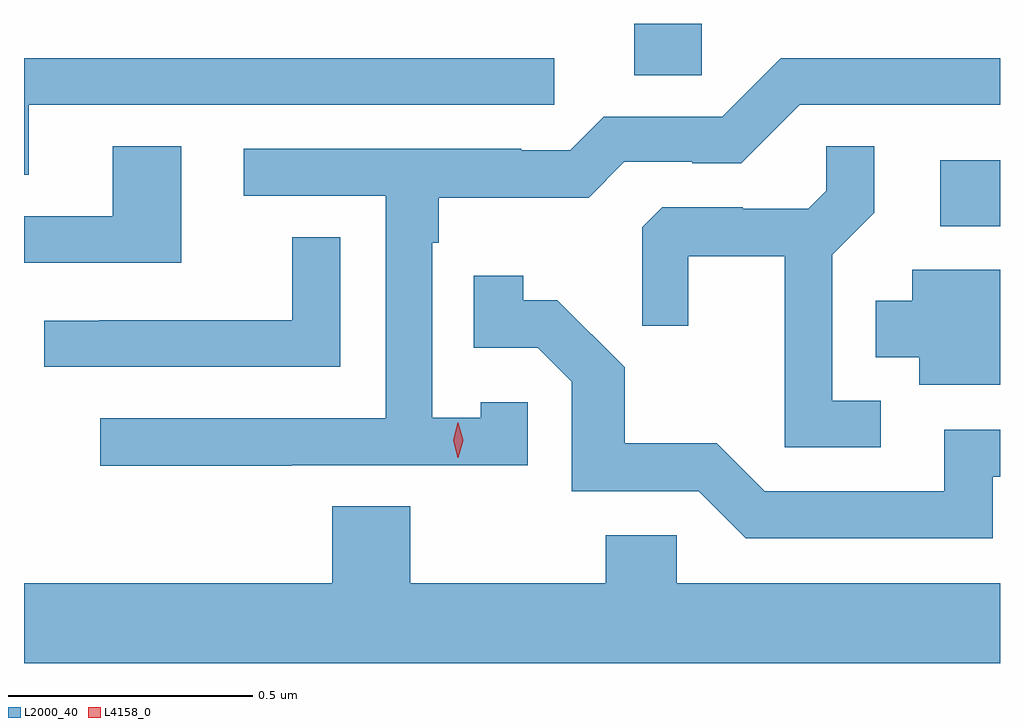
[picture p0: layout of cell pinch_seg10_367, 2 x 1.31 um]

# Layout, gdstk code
import gdstk
lib = gdstk.Library(unit=1e-6, precision=1e-09)
def R(c, l, rs):  # rectangles x0, y0, x1, y1
    for r in rs: c.add(gdstk.rectangle(r[:2], r[2:], *l))
def P(c, l, *ps):  # polygons
    for p in ps: c.add(gdstk.Polygon(p, *l))
L2000_40 = (2000, 40)
L4158_0 = (4158, 0)

pinch_seg10_367 = lib.new_cell('pinch_seg10_367')
R(pinch_seg10_367, L2000_40, [(411.801,1259.919,411.923,1260.055), (411.173,1260.229,411.312,1260.334)])
P(pinch_seg10_367, L2000_40, [(410.471,1259.43),(410.955,1259.43),(410.955,1259.559),(410.859,1259.559),(410.859,1259.527),(410.76,1259.527),(410.76,1259.885),(410.773,1259.885),(410.773,1259.978),(411.08,1259.978),(411.153,1260.051),(411.292,1260.051),(411.292,1260.048),(411.393,1260.048),(411.513,1260.168),(411.923,1260.168),(411.923,1260.264),(411.474,1260.264),(411.354,1260.144),(411.111,1260.144),(411.042,1260.075),(410.942,1260.075),(410.942,1260.078),(410.373,1260.078),(410.373,1259.982),(410.664,1259.982),(410.664,1259.526),(410.079,1259.526),(410.079,1259.428),(410.471,1259.428)],
  [(409.933,1260.168),(411.01,1260.168),(411.01,1260.264),(409.923,1260.264),(409.923,1260.025),(409.933,1260.025)],
  [(411.679,1259.562),(411.579,1259.562),(411.579,1259.861),(411.665,1259.947),(411.665,1260.083),(411.567,1260.083),(411.567,1259.992),(411.53,1259.955),(411.396,1259.955),(411.396,1259.958),(411.231,1259.958),(411.19,1259.917),(411.19,1259.715),(411.284,1259.715),(411.284,1259.858),(411.482,1259.858),(411.482,1259.466),(411.679,1259.466)],
  [(410.245,1260.083),(410.105,1260.083),(410.105,1259.94),(409.923,1259.94),(409.923,1259.844),(410.245,1259.844)],
  [(410.571,1259.897),(410.473,1259.897),(410.473,1259.727),(410.077,1259.727),(410.077,1259.726),(409.965,1259.726),(409.965,1259.631),(410.571,1259.631)],
  [(411.923,1259.83),(411.743,1259.83),(411.743,1259.767),(411.668,1259.767),(411.668,1259.651),(411.758,1259.651),(411.758,1259.594),(411.923,1259.594)],
  [(411.908,1259.406),(411.923,1259.406),(411.923,1259.502),(411.809,1259.502),(411.809,1259.376),(411.441,1259.376),(411.343,1259.475),(411.154,1259.475),(411.154,1259.63),(411.016,1259.768),(410.946,1259.768),(410.946,1259.818),(410.845,1259.818),(410.845,1259.67),(410.976,1259.67),(411.045,1259.601),(411.045,1259.376),(411.306,1259.376),(411.402,1259.28),(411.908,1259.28)],
  [(411.923,1259.188),(411.261,1259.188),(411.261,1259.286),(411.115,1259.286),(411.115,1259.188),(410.715,1259.188),(410.715,1259.345),(410.555,1259.345),(410.555,1259.188),(409.923,1259.188),(409.923,1259.024),(411.923,1259.024)])
P(pinch_seg10_367, L4158_0, [(410.812,1259.445),(410.803,1259.481),(410.812,1259.517),(410.813,1259.517),(410.813,1259.517),(410.823,1259.481),(410.813,1259.445),(410.813,1259.445)])

lib.write_gds('pinch_seg10_367.gds')
